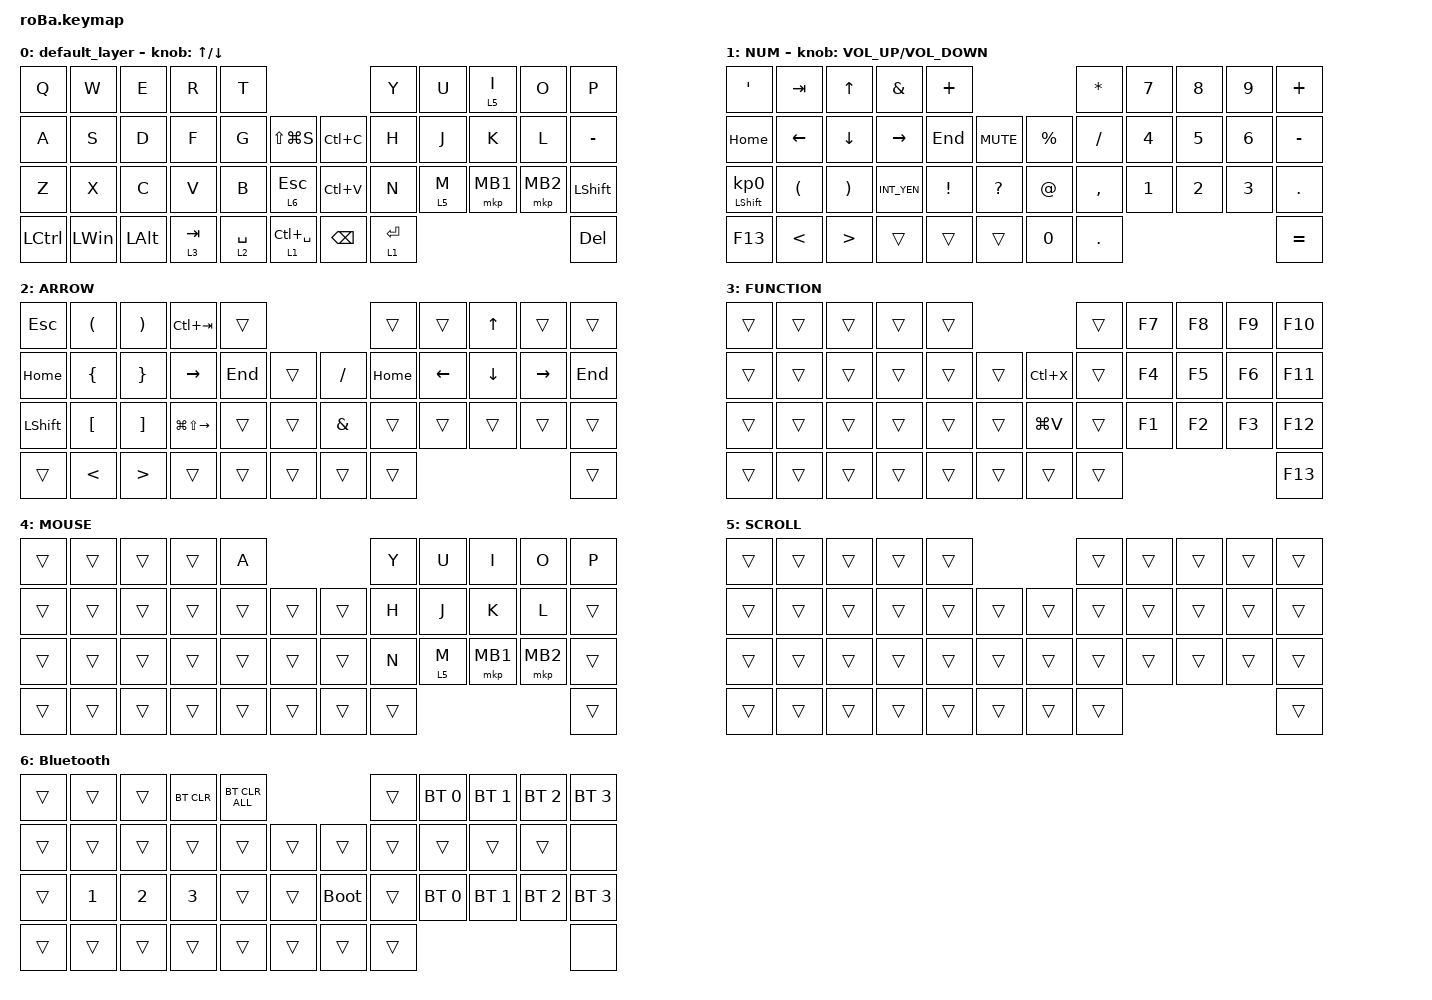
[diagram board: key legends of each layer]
#include <behaviors.dtsi>
#include <dt-bindings/zmk/bt.h>
#include <dt-bindings/zmk/keys.h>
#include <dt-bindings/zmk/pointing.h>

#define MOUSE 4
#define SCROLL 5
#define NUM 6

&mt {
    flavor = "balanced";
    quick-tap-ms = <0>;
};

/ {
    combos { compatible = "zmk,combos"; };

    macros {
        to_layer_0: to_layer_0 {
            compatible = "zmk,behavior-macro-one-param";
            #binding-cells = <1>;
            bindings = <&to 0 &macro_param_1to1 &kp MACRO_PLACEHOLDER>;
            label = "TO_LAYER_0";
        };
    };

    behaviors {
        lt_to_layer_0: lt_to_layer_0 {
            compatible = "zmk,behavior-hold-tap";
            label = "LAYER_TAP_TO_0";
            bindings = <&mo>, <&to_layer_0>;

            #binding-cells = <2>;
            tapping-term-ms = <200>;
        };
    };

    keymap {
        compatible = "zmk,keymap";

        default_layer {
            bindings = <
&kp Q      &kp W         &kp E         &kp R      &kp T                                            &kp Y        &kp U    &lt 5 I   &kp O     &kp P
&kp A      &kp S         &kp D         &kp F      &kp G        &kp LS(LG(S))        &kp LC(C)      &kp H        &kp J    &kp K     &kp L     &kp MINUS
&kp Z      &kp X         &kp C         &kp V      &kp B        &lt 6 ESCAPE         &kp LC(V)      &kp N        &lt 5 M  &mkp MB1  &mkp MB2  &kp LEFT_SHIFT
&kp LCTRL  &kp LEFT_WIN  &kp LEFT_ALT  &lt 3 TAB  &lt 2 SPACE  &lt 1 LC(SPACE)      &kp BACKSPACE  &lt 1 ENTER                               &kp DEL
            >;

            sensor-bindings = <&inc_dec_kp UP_ARROW DOWN_ARROW>;
        };

        NUM {
            bindings = <
&kp APOSTROPHE              &kp TAB               &kp UP_ARROW           &kp AMPERSAND  &kp PLUS                               &kp ASTERISK  &kp N7        &kp N8        &kp N9        &kp PLUS
&kp HOME                    &kp LEFT              &kp DOWN               &kp RIGHT      &kp END   &kp C_MUTE      &kp PERCENT  &kp SLASH     &kp NUMBER_4  &kp N5        &kp NUMBER_6  &kp MINUS
&mt LEFT_SHIFT KP_NUMBER_0  &kp LEFT_PARENTHESIS  &kp RIGHT_PARENTHESIS  &kp INT_YEN    &kp EXCL  &kp QMARK       &kp AT       &kp COMMA     &kp NUMBER_1  &kp NUMBER_2  &kp NUMBER_3  &kp PERIOD
&kp F13                     &kp LESS_THAN         &kp GREATER_THAN       &trans         &trans    &trans          &kp N0       &kp PERIOD                                              &kp EQUAL
            >;

            sensor-bindings = <&inc_dec_kp C_VOLUME_UP C_VOLUME_DOWN>;
        };

        ARROW {
            bindings = <
&kp ESCAPE      &kp LEFT_PARENTHESIS  &kp RIGHT_PARENTHESIS  &kp LC(TAB)              &trans                              &trans    &trans    &kp UP_ARROW  &trans     &trans
&kp HOME        &kp LEFT_BRACE        &kp RIGHT_BRACE        &kp RIGHT_ARROW          &kp END  &trans      &kp SLASH      &kp HOME  &kp LEFT  &kp DOWN      &kp RIGHT  &kp END
&kp LEFT_SHIFT  &kp LEFT_BRACKET      &kp RIGHT_BRACKET      &kp LG(LS(RIGHT_ARROW))  &trans   &trans      &kp AMPERSAND  &trans    &trans    &trans        &trans     &trans
&trans          &kp LESS_THAN         &kp GREATER_THAN       &trans                   &trans   &trans      &trans         &trans                                       &trans
            >;
        };

        FUNCTION {
            bindings = <
&trans  &trans  &trans  &trans  &trans                         &trans  &kp F7  &kp F8  &kp F9  &kp F10
&trans  &trans  &trans  &trans  &trans  &trans      &kp LC(X)  &trans  &kp F4  &kp F5  &kp F6  &kp F11
&trans  &trans  &trans  &trans  &trans  &trans      &kp LG(V)  &trans  &kp F1  &kp F2  &kp F3  &kp F12
&trans  &trans  &trans  &trans  &trans  &trans      &trans     &trans                          &kp F13
            >;
        };

        MOUSE {
            bindings = <
&trans  &trans  &trans  &trans  &kp A                       &kp Y   &kp U    &kp I     &kp O     &kp P
&trans  &trans  &trans  &trans  &trans  &trans      &trans  &kp H   &kp J    &kp K     &kp L     &trans
&trans  &trans  &trans  &trans  &trans  &trans      &trans  &kp N   &lt 5 M  &mkp MB1  &mkp MB2  &trans
&trans  &trans  &trans  &trans  &trans  &trans      &trans  &trans                               &trans
            >;
        };

        SCROLL {
            bindings = <
&trans  &trans  &trans  &trans  &trans                      &trans  &trans  &trans  &trans  &trans
&trans  &trans  &trans  &trans  &trans  &trans      &trans  &trans  &trans  &trans  &trans  &trans
&trans  &trans  &trans  &trans  &trans  &trans      &trans  &trans  &trans  &trans  &trans  &trans
&trans  &trans  &trans  &trans  &trans  &trans      &trans  &trans                          &trans
            >;
        };

        Bluetooth {
            bindings = <
&trans  &trans        &trans        &bt BT_CLR    &bt BT_CLR_ALL                           &trans  &bt BT_SEL 0  &bt BT_SEL 1  &bt BT_SEL 2  &bt BT_SEL 3
&trans  &trans        &trans        &trans        &trans          &trans      &trans       &trans  &trans        &trans        &trans        &none
&trans  &kp NUMBER_1  &kp NUMBER_2  &kp NUMBER_3  &trans          &trans      &bootloader  &trans  &bt BT_SEL 0  &bt BT_SEL 1  &bt BT_SEL 2  &bt BT_SEL 3
&trans  &trans        &trans        &trans        &trans          &trans      &trans       &trans                                            &none
            >;
        };
    };
};
